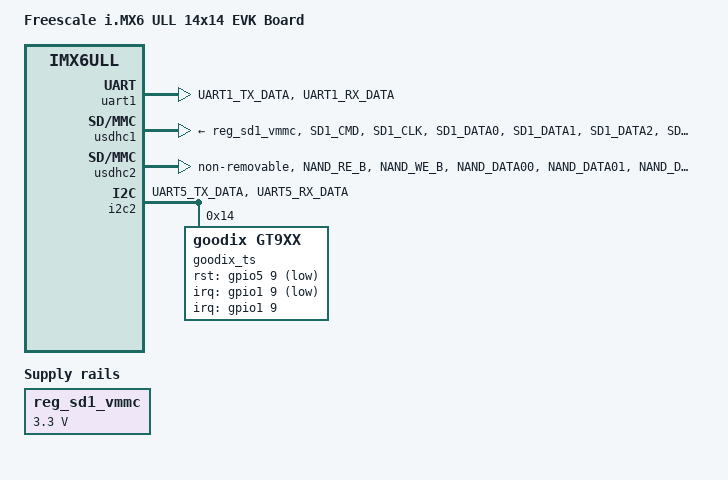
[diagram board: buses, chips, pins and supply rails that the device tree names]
// SPDX-License-Identifier: (GPL-2.0 OR MIT)
//
// Copyright (C) 2016 Freescale Semiconductor, Inc.

/dts-v1/;

#include "imx6ull.dtsi"

/ {
    model = "Freescale i.MX6 ULL 14x14 EVK Board";
    compatible = "fsl,imx6ull-14x14-evk", "fsl,imx6ull";

    chosen {
        stdout-path = &uart1;   //标准输出接口，用于 earlycon / printk / 控制台
    };

    regulators {
		compatible = "simple-bus";
		#address-cells = <1>;
		#size-cells = <0>;

		reg_sd1_vmmc: regulator@1 {
			compatible = "regulator-fixed";
			regulator-name = "VSD_3V3";
			regulator-min-microvolt = <3300000>;
			regulator-max-microvolt = <3300000>;
			/* gpio = <&gpio1 9 GPIO_ACTIVE_HIGH>; */
			enable-active-high;
		};
	};

};  

&iomuxc {
	pinctrl-names = "default";      //定义一个默认引脚配置，IOMUX初始化时就进行配置
	pinctrl-0 = <&pinctrl_hog_1>;   //引脚内容为：
	imx6ul-evk {
		pinctrl_hog_1: hoggrp-1 {
			fsl,pins = <
				MX6UL_PAD_UART1_RTS_B__GPIO1_IO19	0x17059 /* SD1 CD */
				MX6UL_PAD_GPIO1_IO05__USDHC1_VSELECT	0x17059 /* SD1 VSELECT */
				/*MX6UL_PAD_GPIO1_IO09__GPIO1_IO09        0x17059 *//* SD1 RESET */
			>;
		};

		pinctrl_uart1: uart1grp {
			fsl,pins = <
				MX6UL_PAD_UART1_TX_DATA__UART1_DCE_TX 0x1b0b1
				MX6UL_PAD_UART1_RX_DATA__UART1_DCE_RX 0x1b0b1
			>;
		};

		pinctrl_usdhc1: usdhc1grp {
			fsl,pins = <
				MX6UL_PAD_SD1_CMD__USDHC1_CMD     0x17059
				MX6UL_PAD_SD1_CLK__USDHC1_CLK     0x10071
				MX6UL_PAD_SD1_DATA0__USDHC1_DATA0 0x17059
				MX6UL_PAD_SD1_DATA1__USDHC1_DATA1 0x17059
				MX6UL_PAD_SD1_DATA2__USDHC1_DATA2 0x17059
				MX6UL_PAD_SD1_DATA3__USDHC1_DATA3 0x17059
			>;
		};

		pinctrl_usdhc1_100mhz: usdhc1grp100mhz {
			fsl,pins = <
				MX6UL_PAD_SD1_CMD__USDHC1_CMD     0x170b9
				MX6UL_PAD_SD1_CLK__USDHC1_CLK     0x100b9
				MX6UL_PAD_SD1_DATA0__USDHC1_DATA0 0x170b9
				MX6UL_PAD_SD1_DATA1__USDHC1_DATA1 0x170b9
				MX6UL_PAD_SD1_DATA2__USDHC1_DATA2 0x170b9
				MX6UL_PAD_SD1_DATA3__USDHC1_DATA3 0x170b9
			>;
		};

		pinctrl_usdhc1_200mhz: usdhc1grp200mhz {
			fsl,pins = <
				MX6UL_PAD_SD1_CMD__USDHC1_CMD     0x170f9
				MX6UL_PAD_SD1_CLK__USDHC1_CLK     0x100f9
				MX6UL_PAD_SD1_DATA0__USDHC1_DATA0 0x170f9
				MX6UL_PAD_SD1_DATA1__USDHC1_DATA1 0x170f9
				MX6UL_PAD_SD1_DATA2__USDHC1_DATA2 0x170f9
				MX6UL_PAD_SD1_DATA3__USDHC1_DATA3 0x170f9
			>;
		};

		pinctrl_usdhc2: usdhc2grp {
			fsl,pins = <
				MX6UL_PAD_NAND_RE_B__USDHC2_CLK     0x10069
				MX6UL_PAD_NAND_WE_B__USDHC2_CMD     0x17059
				MX6UL_PAD_NAND_DATA00__USDHC2_DATA0 0x17059
				MX6UL_PAD_NAND_DATA01__USDHC2_DATA1 0x17059
				MX6UL_PAD_NAND_DATA02__USDHC2_DATA2 0x17059
				MX6UL_PAD_NAND_DATA03__USDHC2_DATA3 0x17059
			>;
		};

		pinctrl_usdhc2_8bit: usdhc2grp_8bit {
			fsl,pins = <
				MX6UL_PAD_NAND_RE_B__USDHC2_CLK     0x10069
				MX6UL_PAD_NAND_WE_B__USDHC2_CMD     0x17059
				MX6UL_PAD_NAND_DATA00__USDHC2_DATA0 0x17059
				MX6UL_PAD_NAND_DATA01__USDHC2_DATA1 0x17059
				MX6UL_PAD_NAND_DATA02__USDHC2_DATA2 0x17059
				MX6UL_PAD_NAND_DATA03__USDHC2_DATA3 0x17059
				MX6UL_PAD_NAND_DATA04__USDHC2_DATA4 0x17059
				MX6UL_PAD_NAND_DATA05__USDHC2_DATA5 0x17059
				MX6UL_PAD_NAND_DATA06__USDHC2_DATA6 0x17059
				MX6UL_PAD_NAND_DATA07__USDHC2_DATA7 0x17059
			>;
		};

		pinctrl_usdhc2_8bit_100mhz: usdhc2grp_8bit_100mhz {
			fsl,pins = <
				MX6UL_PAD_NAND_RE_B__USDHC2_CLK     0x100b9
				MX6UL_PAD_NAND_WE_B__USDHC2_CMD     0x170b9
				MX6UL_PAD_NAND_DATA00__USDHC2_DATA0 0x170b9
				MX6UL_PAD_NAND_DATA01__USDHC2_DATA1 0x170b9
				MX6UL_PAD_NAND_DATA02__USDHC2_DATA2 0x170b9
				MX6UL_PAD_NAND_DATA03__USDHC2_DATA3 0x170b9
				MX6UL_PAD_NAND_DATA04__USDHC2_DATA4 0x170b9
				MX6UL_PAD_NAND_DATA05__USDHC2_DATA5 0x170b9
				MX6UL_PAD_NAND_DATA06__USDHC2_DATA6 0x170b9
				MX6UL_PAD_NAND_DATA07__USDHC2_DATA7 0x170b9
			>;
		};

		pinctrl_usdhc2_8bit_200mhz: usdhc2grp_8bit_200mhz {
			fsl,pins = <
				MX6UL_PAD_NAND_RE_B__USDHC2_CLK     0x100f9
				MX6UL_PAD_NAND_WE_B__USDHC2_CMD     0x170f9
				MX6UL_PAD_NAND_DATA00__USDHC2_DATA0 0x170f9
				MX6UL_PAD_NAND_DATA01__USDHC2_DATA1 0x170f9
				MX6UL_PAD_NAND_DATA02__USDHC2_DATA2 0x170f9
				MX6UL_PAD_NAND_DATA03__USDHC2_DATA3 0x170f9
				MX6UL_PAD_NAND_DATA04__USDHC2_DATA4 0x170f9
				MX6UL_PAD_NAND_DATA05__USDHC2_DATA5 0x170f9
				MX6UL_PAD_NAND_DATA06__USDHC2_DATA6 0x170f9
				MX6UL_PAD_NAND_DATA07__USDHC2_DATA7 0x170f9
			>;
		};

		pinctrl_i2c2: i2c2grp {
			fsl,pins = <
				MX6UL_PAD_UART5_TX_DATA__I2C2_SCL 0x4001b8b0
				MX6UL_PAD_UART5_RX_DATA__I2C2_SDA 0x4001b8b0
			>;
		};

		pinctrl_ts_int_pin: ts_int_pin {
			fsl,pins = <
				MX6UL_PAD_GPIO1_IO09__GPIO1_IO09           0x000010B0
			>;
		};

		pinctrl_ts_reset_pin: ts_reset_pin {
				fsl,pins = <
						MX6ULL_PAD_SNVS_TAMPER9__GPIO5_IO09  	0x0001D0A0	
				>;
		};
	};
};

&iomuxc_snvs {
	pinctrl-names = "default_snvs";
	pinctrl-0 = <&pinctrl_hog_2>;
	imx6ul-evk {
		pinctrl_hog_2: hoggrp-2 {
						fsl,pins = <
								MX6ULL_PAD_SNVS_TAMPER0__GPIO5_IO00      0x80000000
						>;
				};
	};
};

&uart1 {
    pinctrl-names = "default";
    pinctrl-0 = <&pinctrl_uart1>;
    status = "okay";
};

&usdhc1 {
	pinctrl-names = "default", "state_100mhz", "state_200mhz";
	pinctrl-0 = <&pinctrl_usdhc1>;
	pinctrl-1 = <&pinctrl_usdhc1_100mhz>;
	pinctrl-2 = <&pinctrl_usdhc1_200mhz>;
	cd-gpios = <&gpio1 19 GPIO_ACTIVE_LOW>;
	keep-power-in-suspend;
	enable-sdio-wakeup;
	vmmc-supply = <&reg_sd1_vmmc>;
	status = "okay";
};

&usdhc2 {
	pinctrl-names = "default";
	pinctrl-0 = <&pinctrl_usdhc2>;
	non-removable;
	status = "okay";
};

&i2c2 {
	clock_frequency = <100000>;
	pinctrl-names = "default";
	pinctrl-0 = <&pinctrl_i2c2>;
	status = "okay";

	goodix_ts@14 {				//使用goodix的驱动，并且设置具体型号
		compatible = "goodix,gt9xx", "goodix,gt1151";
		reg = <0x14>;
		interrupt-parent = <&gpio1>;
		interrupts = <9 IRQ_TYPE_EDGE_BOTH>;
		pinctrl-name = "default";
		pinctrl-0 = <&pinctrl_ts_int_pin 
					&pinctrl_ts_reset_pin>;
		goodix,rst-gpio = <&gpio5 9  GPIO_ACTIVE_LOW>;
		goodix,irq-gpio = <&gpio1 9  GPIO_ACTIVE_LOW>;
		status = "okay";
	};
};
